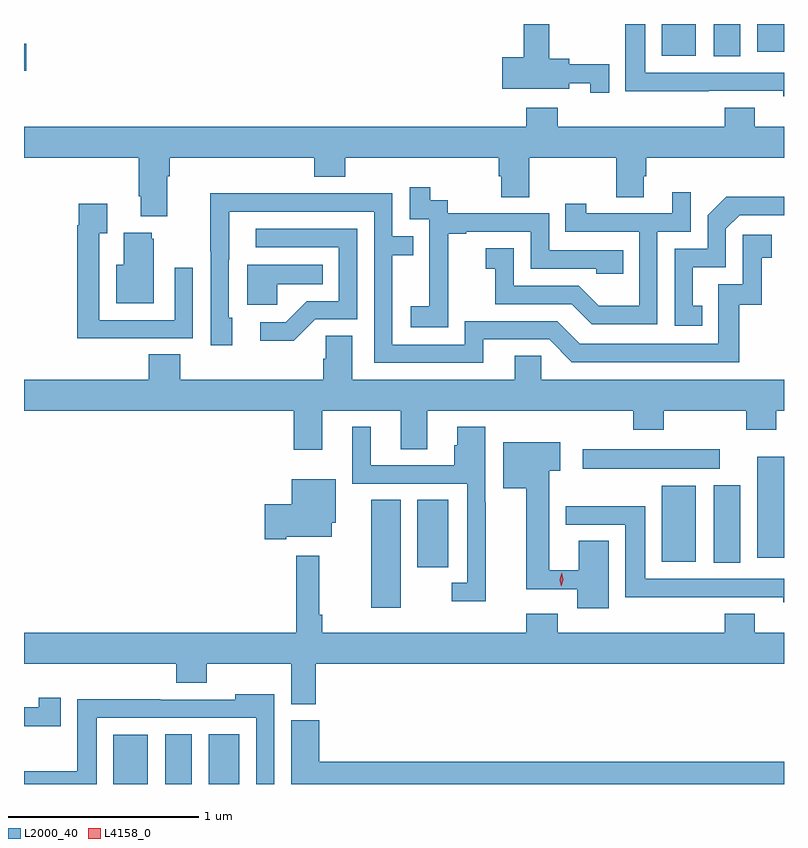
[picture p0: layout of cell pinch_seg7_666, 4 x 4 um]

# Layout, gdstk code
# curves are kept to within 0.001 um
import gdstk
lib = gdstk.Library(unit=1e-6, precision=1e-09)
def R(c, l, rs):  # rectangles x0, y0, x1, y1
    for r in rs: c.add(gdstk.rectangle(r[:2], r[2:], *l))
def P(c, l, *ps):  # polygons
    for p in ps: c.add(gdstk.Polygon(p, *l))
L2000_40 = (2000, 40)
L4158_0 = (4158, 0)

pinch_seg7_666 = lib.new_cell('pinch_seg7_666')
R(pinch_seg7_666, L2000_40, [(275.417,1011.972,275.596,1012.231), (275.69,1011.972,275.83,1012.235), (275.918,1011.972,276.079,1012.235), (276.773,1012.899,276.928,1013.468), (277.016,1013.112,277.18,1013.468), (278.576,1013.137,278.716,1013.545), (278.303,1013.141,278.482,1013.542), (278.804,1013.163,278.946,1013.695), (277.887,1013.63,278.608,1013.734), (274.946,1015.726,274.957,1015.868), (278.576,1015.801,278.716,1015.972), (278.303,1015.805,278.482,1015.972), (278.804,1015.827,278.946,1015.972)])
P(pinch_seg7_666, L2000_40, [(278.946,1015.716),(278.215,1015.716),(278.215,1015.972),(278.111,1015.972),(278.111,1015.619),(278.549,1015.619),(278.549,1015.62),(278.943,1015.62),(278.943,1015.592),(278.946,1015.592)],
  [(278.026,1015.761),(277.816,1015.761),(277.816,1015.789),(277.711,1015.789),(277.711,1015.972),(277.577,1015.972),(277.577,1015.797),(277.464,1015.797),(277.464,1015.631),(277.816,1015.631),(277.816,1015.66),(277.926,1015.66),(277.926,1015.611),(278.026,1015.611)],
  [(275.701,1015.172),(275.714,1015.172),(275.714,1015.268),(276.473,1015.268),(276.473,1015.169),(276.638,1015.169),(276.638,1015.268),(277.445,1015.268),(277.445,1015.17),(277.457,1015.17),(277.457,1015.06),(277.605,1015.06),(277.605,1015.268),(278.062,1015.268),(278.062,1015.06),(278.209,1015.06),(278.209,1015.17),(278.222,1015.17),(278.222,1015.268),(278.946,1015.268),(278.946,1015.432),(278.793,1015.432),(278.793,1015.531),(278.633,1015.531),(278.633,1015.432),(277.754,1015.432),(277.754,1015.531),(277.589,1015.531),(277.589,1015.432),(274.946,1015.432),(274.946,1015.268),(275.549,1015.268),(275.549,1015.066),(275.561,1015.066),(275.561,1014.959),(275.701,1014.959)],
  [(277.179,1014.583),(277.178,1014.583),(277.178,1014.867),(277.273,1014.867),(277.273,1014.879),(277.614,1014.879),(277.614,1014.684),(277.959,1014.684),(277.959,1014.657),(278.099,1014.657),(278.099,1014.78),(277.71,1014.78),(277.71,1014.975),(277.176,1014.975),(277.176,1015.044),(277.084,1015.044),(277.084,1015.114),(276.975,1015.114),(276.975,1014.945),(277.08,1014.945),(277.08,1014.716),(277.079,1014.716),(277.079,1014.487),(276.981,1014.487),(276.981,1014.377),(277.179,1014.377)],
  [(278.28,1014.879),(278.454,1014.879),(278.454,1015.087),(278.357,1015.087),(278.357,1014.975),(277.906,1014.975),(277.906,1015.027),(277.795,1015.027),(277.795,1014.879),(278.184,1014.879),(278.184,1014.49),(277.97,1014.49),(277.866,1014.594),(277.524,1014.594),(277.524,1014.793),(277.377,1014.793),(277.377,1014.683),(277.426,1014.683),(277.426,1014.498),(277.829,1014.498),(277.934,1014.393),(278.28,1014.393)],
  [(277.363,1014.312),(277.71,1014.312),(277.83,1014.192),(278.71,1014.192),(278.71,1014.495),(278.828,1014.495),(278.828,1014.741),(278.881,1014.741),(278.881,1014.862),(278.73,1014.862),(278.73,1014.603),(278.601,1014.603),(278.601,1014.288),(277.872,1014.288),(277.752,1014.408),(277.266,1014.408),(277.266,1014.285),(276.885,1014.285),(276.885,1014.754),(276.995,1014.754),(276.995,1014.855),(276.885,1014.855),(276.885,1015.08),(276.389,1015.08),(276.389,1015.082),(275.926,1015.082),(275.926,1014.775),(275.928,1014.775),(275.928,1014.282),(276.043,1014.282),(276.043,1014.426),(276.024,1014.426),(276.025,1014.984),(276.789,1014.984),(276.789,1014.189),(277.363,1014.189)],
  [(278.516,1014.489),(278.467,1014.489),(278.467,1014.693),(278.64,1014.693),(278.64,1014.894),(278.712,1014.966),(278.946,1014.966),(278.946,1015.064),(278.642,1015.064),(278.544,1014.966),(278.544,1014.789),(278.37,1014.789),(278.37,1014.384),(278.516,1014.384)],
  [(275.519,1014.318),(275.835,1014.318),(275.835,1014.688),(275.739,1014.688),(275.739,1014.414),(275.343,1014.414),(275.343,1014.871),(275.383,1014.871),(275.383,1015.027),(275.235,1015.027),(275.235,1014.914),(275.227,1014.914),(275.227,1014.317),(275.519,1014.317)],
  [(276.48,1014.417),(276.699,1014.417),(276.699,1014.894),(276.165,1014.894),(276.165,1014.798),(276.603,1014.798),(276.603,1014.513),(276.434,1014.513),(276.323,1014.402),(276.189,1014.402),(276.189,1014.305),(276.367,1014.305)],
  [(275.629,1014.843),(275.618,1014.843),(275.618,1014.874),(275.471,1014.874),(275.471,1014.706),(275.432,1014.706),(275.432,1014.503),(275.629,1014.503)],
  [(276.279,1014.602),(276.518,1014.602),(276.518,1014.706),(276.122,1014.706),(276.122,1014.494),(276.279,1014.494)],
  [(276.517,1013.936),(276.929,1013.936),(276.929,1013.734),(277.069,1013.734),(277.069,1013.936),(278.153,1013.936),(278.153,1013.837),(278.313,1013.837),(278.313,1013.936),(278.746,1013.936),(278.746,1013.837),(278.906,1013.837),(278.906,1013.936),(278.946,1013.936),(278.946,1014.1),(277.668,1014.1),(277.668,1014.227),(277.529,1014.227),(277.529,1014.1),(276.673,1014.1),(276.673,1014.332),(276.534,1014.332),(276.534,1014.209),(276.521,1014.209),(276.521,1014.1),(275.768,1014.1),(275.768,1014.233),(275.603,1014.233),(275.603,1014.1),(274.946,1014.1),(274.946,1013.936),(276.365,1013.936),(276.365,1013.73),(276.517,1013.73)],
  [(277.376,1013.456),(277.374,1013.456),(277.374,1013.851),(277.226,1013.851),(277.226,1013.754),(277.211,1013.754),(277.211,1013.649),(276.772,1013.649),(276.772,1013.851),(276.674,1013.851),(276.674,1013.553),(277.278,1013.553),(277.278,1013.031),(277.197,1013.031),(277.197,1012.934),(277.376,1012.934)],
  [(278.023,1013.252),(277.865,1013.252),(277.865,1013.097),(277.711,1013.097),(277.711,1013.621),(277.768,1013.621),(277.768,1013.77),(277.469,1013.77),(277.469,1013.528),(277.589,1013.528),(277.589,1012.997),(277.858,1012.997),(277.858,1012.896),(278.023,1012.896)],
  [(276.325,1013.273),(276.565,1013.273),(276.565,1013.346),(276.586,1013.346),(276.586,1013.575),(276.356,1013.575),(276.356,1013.444),(276.213,1013.444),(276.213,1013.261),(276.325,1013.261)],
  [(278.946,1013.052),(278.215,1013.052),(278.215,1013.435),(277.796,1013.435),(277.796,1013.337),(278.111,1013.337),(278.111,1012.955),(278.549,1012.955),(278.549,1012.956),(278.943,1012.956),(278.943,1012.928),(278.946,1012.928)],
  [(274.946,1012.604),(275.747,1012.604),(275.747,1012.505),(275.907,1012.505),(275.907,1012.604),(276.353,1012.604),(276.353,1012.393),(276.482,1012.393),(276.482,1012.604),(278.946,1012.604),(278.946,1012.768),(278.793,1012.768),(278.793,1012.867),(278.633,1012.867),(278.633,1012.768),(277.754,1012.768),(277.754,1012.867),(277.589,1012.867),(277.589,1012.768),(276.515,1012.768),(276.515,1012.864),(276.5,1012.864),(276.5,1013.173),(276.379,1013.173),(276.379,1012.768),(274.946,1012.768)],
  [(275.329,1012.32),(276.168,1012.32),(276.168,1011.972),(276.264,1011.972),(276.264,1012.444),(276.057,1012.444),(276.057,1012.416),(275.663,1012.416),(275.663,1012.418),(275.225,1012.418),(275.225,1012.038),(274.946,1012.038),(274.946,1011.972),(275.329,1011.972)],
  [(275.14,1012.426),(275.023,1012.426),(275.023,1012.375),(274.946,1012.375),(274.946,1012.276),(275.14,1012.276)],
  [(278.946,1012.088),(276.5,1012.088),(276.5,1012.308),(276.353,1012.308),(276.353,1011.972),(278.946,1011.972)])
P(pinch_seg7_666, L4158_0, [(277.774,1013.012),(277.774,1013.012),(277.765,1013.048),(277.775,1013.083),(277.776,1013.083),(277.776,1013.083),(277.785,1013.047),(277.774,1013.012)])

lib.write_gds('pinch_seg7_666.gds')
